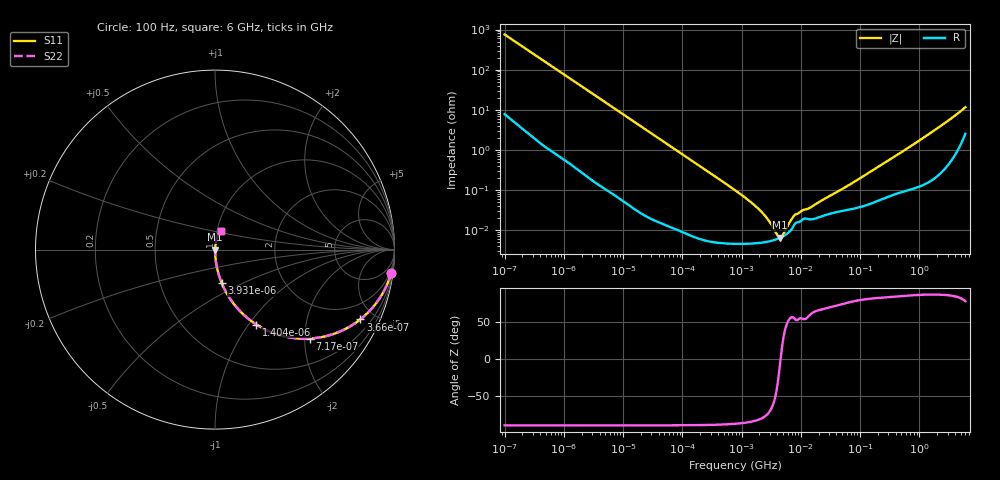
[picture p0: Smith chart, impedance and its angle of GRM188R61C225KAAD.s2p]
!Murata Part Number: GRM188R61C225KAAD
!These Parameters are Measured in Series Mode Connection
!Data Generated on Mar 30, 2021
!  o--ll--o
!Port1  Port2
!  o------o
!Operation Temp=25[degC], DC Bias Voltage=0[V]
!Freq. Start=100[Hz] Stop=6[GHz] 401[Steps]
# Hz S RI R 50
!Freq.(Hz) S11(Real) S11(Imag) S21(Real) S21(Imag) S12(Real) S12(Imag) S22(Real) S22(Imag)
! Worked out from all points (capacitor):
!   401 points, 100 Hz to 6 GHz, reference 50 ohm
!   read as one part in series: C = 2.11 uF near 109 Hz
!   lowest |Z| = 6.39 mohm at 4.441 MHz (marker M1)
!   series resonance near 4.559 MHz, so ESL is about 580 pH
!   S11 on the Smith chart (normalised r, x): 100 Hz: 1, -15; 366 Hz: 1.03, -4.15; 717 Hz: 1.02, -2.12; 1.404 kHz: 1.01, -1.09; 3.931 kHz: 1.00, -0.39; 6 GHz: 1.05, +0.23
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100  0.9814 -0.1299  0.0186 0.1299  0.0186 0.1299  0.9814 -0.1299
205  0.93 -0.2508  0.07 0.2508  0.07 0.2508  0.93 -0.2508
366  0.8093 -0.389  0.1907 0.389  0.1907 0.389  0.8093 -0.389
717  0.5297 -0.4954  0.4703 0.4954  0.4703 0.4954  0.5297 -0.4954
981  0.3775 -0.481  0.6225 0.481  0.6225 0.481  0.3775 -0.481
1404  0.2302 -0.4173  0.7698 0.4173  0.7698 0.4173  0.2302 -0.4173
2008  0.1285 -0.3312  0.8715 0.3312  0.8715 0.3312  0.1285 -0.3312
3931  0.0379 -0.1875  0.9621 0.1875  0.9621 0.1875  0.0379 -0.1875
10527  0.00582 -0.0727  0.9942 0.0727  0.9942 0.0727  0.00582 -0.0727
40335  0.000521 -0.0192  0.9995 0.0192  0.9995 0.0192  0.000521 -0.0192
774597  4.57e-05 -0.000978  1 0.000978  1 0.000978  4.57e-05 -0.000978
1983483  4.72e-05 -0.000319  1 0.000319  1 0.000319  4.72e-05 -0.000319
2594782  5e-05 -0.000203  1 0.000203  1 0.000203  5e-05 -0.000203
3549919  5.59e-05 -8.63e-05  0.9999 8.63e-05  0.9999 8.63e-05  5.59e-05 -8.63e-05
4440638  6.33e-05 -8.9e-06  0.9999 8.9e-06  0.9999 8.9e-06  6.33e-05 -8.9e-06
5554849  7.59e-05 6.86e-05  0.9999 -6.86e-05  0.9999 -6.86e-05  7.59e-05 6.86e-05
7266822  0.000113 0.000168  0.9999 -0.000168  0.9999 -0.000168  0.000113 0.000168
8311524  0.000152 0.000194  0.9998 -0.000194  0.9998 -0.000194  0.000152 0.000194
1.555665e7  0.000184 0.00034  0.9998 -0.00034  0.9998 -0.00034  0.000184 0.00034
3.124326e8  0.00072 0.00556  0.9993 -0.00556  0.9993 -0.00556  0.00072 0.00556
1.95892e9  0.00321 0.0331  0.9968 -0.0331  0.9968 -0.0331  0.00321 0.0331
6e9  0.0362 0.1058  0.9638 -0.1058  0.9638 -0.1058  0.0362 0.1058
